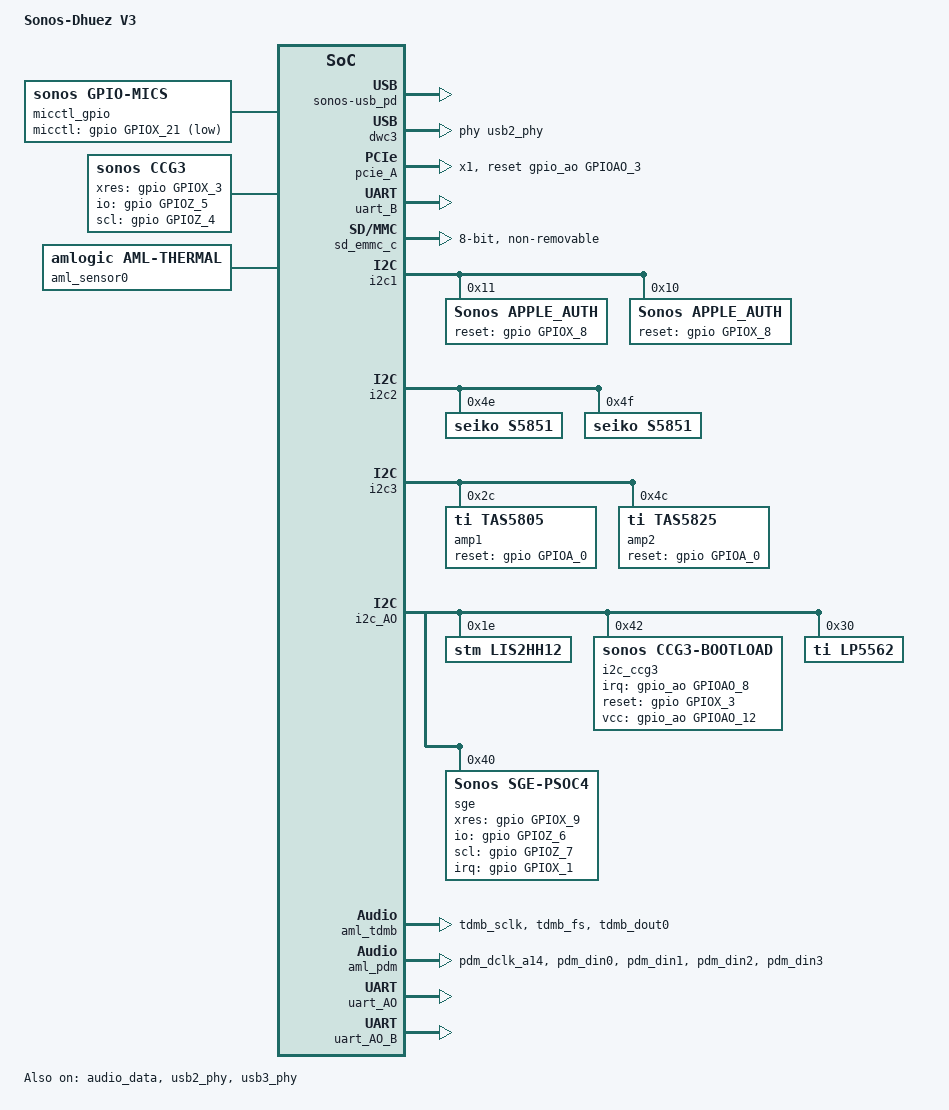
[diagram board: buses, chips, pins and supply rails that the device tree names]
/*
 * Copyright (c) 2018-2021, Sonos, Inc.
 *
 * SPDX-License-Identifier:     GPL-2.0
 */
/* Alpine HW versions
 *      V0 - dhuez_v0.dts    - Alpine p0 & p1a builds
 *      V1 - dhuez_v1.dts    - Alpine p1b
 *      V2 - dhuez_v2.dts    - Alpine p2a
 *      V3 - dhuez.dts       - Alpine p2b
 */
/dts-v1/;

#include "a113.dtsi"
#include "../sonos_platform.dtsi"

/ {
	model = "Sonos-Dhuez V3";
	amlogic-dt-id = "axg_a113d_skt_v1";
	compatible = "amlogic, axg";
	interrupt-parent = <&gic>;
	#address-cells = <2>;
	#size-cells = <2>;

	sonos-product-id = <0x0c>;

	sonos-platform {
		/* Sonos platform specific values for shared driver source & binaries */
		sonos-ampctl {
			/* Alpine has one amp fault.  It has three control lines.
			 */
			status = "okay";
			hw-inits-index = <1>;
			hw-exits-index = <1>;
			using-i2c-amp;
			ignore-startup-faults;
			allow-auto-recovery;

			sonos-ampfaults {
				num-faults = <0x01>;
				status = "okay";

				ampfault@0 {
					fault-gpio = <&gpio GPIOA_1 GPIO_ACTIVE_LOW>;
					fault-flags = <IRQ_TYPE_EDGE_FALLING>;
					fault-label = "Amp fault";
				} ;
			} ;
		} ;

		sonos-usb_pd {
			status = "okay";
			hw-inits-index = <1>;
			hw-exits-index = <1>;
		};

		misc-gpio {
			connect-button  = <&gpio_ao GPIOAO_6 GPIO_ACTIVE_LOW>;
			no-irq;
		};

		gpio-outs {
			/* The value 8 indicates an Open Drain GPIO to Amlogic driver */
			bt-classic-res = <&gpio GPIOZ_10 8>;
		};

		simulated-buttons {
		/* event-sources are offsets from EVTSOURCE_BUTTON_PLAYPAUSE, some generate an event for more than one source */
			join {
				event-sources = <3>;
				no-repeat-sim;
			};
			mode {
				event-sources = <4>;
				no-repeat-sim;
			};
			power {
				event-sources= <5>;
				no-repeat-sim;
			};
		};

		thermal-mgmt {
			AMP {
				compatible = "seiko,s5851";
				fault-temperature = <100>;
				warn-temperature = <95>;
			};
			CPU {
				compatible = "seiko,s5851";
				fault-temperature = <95>;
				warn-temperature = <91>;
			};
			POWER {
				compatible = "sonos,battery";
				fault-temperature = <58>;
				warn-temperature = <53>;
			};
		};
	} ;

	micctl_gpio:sonos-gpio-micctl {
		compatible = "sonos,gpio-mics";
		micctl-gpio = <&gpio GPIOX_21 GPIO_ACTIVE_LOW>;
	};

	micctl@1 {
		compatible = "sonos,micctl";
		micctl-device = <&micctl_gpio>;
	};

	rtc{
		status = "disabled";
	};

	sonos-rtc {
		compatible = "sonos,rtc";
		status = "okay";
	};

	sonos-lla {
		compatible = "sonos,alsa-lla";
		tx_mask = <0x3>;
		rx_mask = <0x3f>;
		status = "okay";
	};

	hrtimer-a113 {
		compatible = "sonos,hrtimer-a113";
		status = "okay";
	};

	ccg3 {
		compatible = "sonos,ccg3";
		xres-gpio = <&gpio GPIOX_3 GPIO_ACTIVE_HIGH>;
		io-gpio   = <&gpio GPIOZ_5 GPIO_ACTIVE_HIGH>;
		scl-gpio  = <&gpio GPIOZ_4 GPIO_ACTIVE_HIGH>;
	};

	aliases {
		serial0 = &uart_AO;
		serial1 = &uart_AO_B;
		serial2 = &uart_B;
		serial3 = &uart_A;
	};

	memory@00000000 {
		device_type = "memory";
		linux,usable-memory = <0x0 0x100000 0x0 0x3ff00000>;
	};

	reserved-memory {
		#address-cells = <2>;
		#size-cells = <2>;
		ranges;
		/* global autoconfigured region for contiguous allocations */
		ramoops@0x07400000 {
			compatible = "ramoops";
			reg = <0x0 0x07400000 0x0 0x00100000>;
			record-size = <0x8000>;
			console-size = <0x10000>;
			ftrace-size = <0x2000>;
			pmsg-size = <0x4000>;
		};
		secmon_reserved:linux,secmon {
			compatible = "shared-dma-pool";
			reusable;
			size = <0x0 0x400000>;
			alignment = <0x0 0x400000>;
			alloc-ranges = <0x0 0x05000000 0x0 0x400000>;
		};
		secos_reserved:linux,secos {
			status = "disable";
			compatible = "amlogic, aml_secos_memory";
			reg = <0x0 0x05300000 0x0 0x2000000>;
			no-map;
		};
	};

	ethmac: ethernet@0xff3f0000 {
			compatible = "amlogic, gxbb-eth-dwmac";
			status = "disable";
			reg = <0x0 0xff3f0000 0x0 0x10000
			0x0 0xff634540 0x0 0x8>;
			interrupts = <0 8 1>;
			pinctrl-names = "external_eth_pins";
			pinctrl-0 = <&external_eth_pins>;
			mc_val_internal_phy = <0x1800>;
			mc_val_external_phy = <0x1404>;
			interrupt-names = "macirq";
			clocks = <&clkc CLKID_ETH_CORE>;
			clock-names = "ethclk81";
			internal_phy=<0>;
	};

	aml_sensor0: aml-sensor@0 {
		compatible = "amlogic, aml-thermal";
		device_name = "thermal";
		#thermal-sensor-cells = <1>;
		cooling_devices {
			cpufreq_cool_cluster0 {
				min_state = <1000000>;
				dyn_coeff = <140>;
				cluster_id = <0>;
				node_name = "cpufreq_cool0";
				device_type = "cpufreq";
			};
			cpucore_cool_cluster0 {
				min_state = <1>;
				dyn_coeff = <0>;
				cluster_id = <0>;
				node_name = "cpucore_cool0";
				device_type = "cpucore";
			};
		};
		cpufreq_cool0:cpufreq_cool0 {
			#cooling-cells = <2>; /* min followed by max */
		};
		cpucore_cool0:cpucore_cool0 {
			#cooling-cells = <2>; /* min followed by max */
		};
	};

	remote:rc@0xff808040 {
		status = "disabled";
	};

	thermal-zones {
		soc_thermal {
			polling-delay = <1000>;
			polling-delay-passive = <100>;
			sustainable-power = <1050>;

			thermal-sensors = <&aml_sensor0 3>;

			trips {
				switch_on: trip-point@0 {
					temperature = <70000>;
					hysteresis = <1000>;
					type = "passive";
				};
				control: trip-point@1 {
					temperature = <80000>;
					hysteresis = <1000>;
					type = "passive";
				};
				hot: trip-point@2 {
					temperature = <105000>;
					hysteresis = <5000>;
					type = "hot";
				};
				critical: trip-point@3 {
					temperature = <260000>;
					hysteresis = <1000>;
					type = "critical";
				};
			};

			cooling-maps {
				cpufreq_cooling_map {
					trip = <&control>;
					cooling-device = <&cpufreq_cool0 0 4>;
					contribution = <1024>;
				};
				cpucore_cooling_map {
					trip = <&control>;
					cooling-device = <&cpucore_cool0 0 3>;
					contribution = <1024>;
				};
			};
		};
	};

	dwc3: dwc3@ff500000 {
		compatible = "synopsys, dwc3";
		status = "okay";
		reg = <0x0 0xff500000 0x0 0x100000>;
		interrupts = <0 30 4>;
		usb-phy = <&usb2_phy>, <&usb3_phy>;
		cpu-type = "gxl";
		clock-src = "usb3.0";
		clocks = <&clkc CLKID_USB_GENERAL>;
		clock-names = "dwc_general";
	};

	usb2_phy: usb2phy@ffe09000 {
		compatible = "amlogic, amlogic-new-usb2";
		status = "okay";
		portnum = <4>;
		reg = <0x0 0xffe09000 0x0 0x80>;
	};
	usb3_phy: usb3phy@ffe09080 {
		compatible = "amlogic, amlogic-new-usb3";
		status = "okay";
		portnum = <0>;
		reg = <0x0 0xffe09080 0x0 0x20>;
	};

	dwc2_a {
		compatible = "amlogic, dwc2";
		device_name = "dwc2_a";
		reg = <0x0 0xff400000 0x0 0x40000>;
		status = "disabled";
		interrupts = <0 31 4>;
		pl-periph-id = <0>; /** lm name */
		clock-src = "usb0"; /** clock src */
		port-id = <0>;  /** ref to mach/usb.h */
		port-type = <2>;        /** 0: otg, 1: host, 2: slave */
		port-speed = <0>; /** 0: default, high, 1: full */
		port-config = <0>; /** 0: default */
		/*0:default,1:single,2:incr,3:incr4,4:incr8,5:incr16,6:disable*/
		port-dma = <0>;
		port-id-mode = <0>; /** 0: hardware, 1: sw_host, 2: sw_slave*/
		usb-fifo = <728>;
		cpu-type = "gxl";
		/** 0: normal, 1: otg+dwc3 host only, 2: otg+dwc3 device only*/
		controller-type = <3>;
		phy-reg = <0xffe09000>;
		phy-reg-size = <0xa0>;
		clocks = <&clkc CLKID_USB_GENERAL
			&clkc CLKID_USB1_TO_DDR
			&clkc CLKID_USB1>;
		clock-names = "usb_general",
			"usb1",
			"usb1_to_ddr";
	};

	pcie_A: pcieA@f9800000 {
		compatible = "amlogic, amlogic-pcie", "snps,dw-pcie";
		reg = <0x0 0xf9800000 0x0 0x400000
				0x0 0xff646000 0x0 0x2000
				0x0 0xf9f00000 0x0 0x100000
				0x0 PCIE_PHY_REG 0x0 PCIE_PHY_SIZE
				0x0 PCIE_RESET_REG 0x0 PCIE_RESET_SIZE>;
		reg-names = "elbi", "cfg", "config", "phy", "reset";
		reset-gpio = <&gpio_ao GPIOAO_3 GPIO_ACTIVE_HIGH>;
		interrupts = <0 177 0>, <0 179 0>;
		#interrupt-cells = <1>;
		bus-range = <0x0 0xff>;
		#address-cells = <3>;
		#size-cells = <2>;
		device_type = "pci";
		ranges = <0x82000000 0 0 0x0 0xf9c00000 0 0x00300000>;
			/* non-prefetchable memory */
		num-lanes = <1>;
		pcie-num = <1>;
		speed-mod = <1>; /* gen1 */

		clocks = <&clkc CLKID_USB_GENERAL
				&clkc CLKID_PCIE_PLL
				&clkc CLKID_MIPI_ENABLE_GATE
				&clkc CLKID_MIPI_BANDGAP_GATE
				&clkc CLKID_PCIE_A
				&clkc CLKID_PCIE_CML_EN0>;
		clock-names = "pcie_general",
				"pcie_refpll",
				"pcie_mipi_enable_gate",
				"pcie_mipi_bandgap_gate",
				"pcie",
				"port";
		/*reset-gpio-type 0:Shared pad(no reset)1:OD pad2:Normal pad*/
		gpio-type = <2>;
		status = "okay";
	};

	pcie_B: pcieB@fa000000 {
		compatible = "amlogic, amlogic-pcie", "snps,dw-pcie";
		reg = <0x0 0xfa000000 0x0 0x400000
				0x0 0xff648000 0x0 0x2000
				0x0 0xfa400000 0x0 0x100000
				0x0 PCIE_PHY_REG 0x0 PCIE_PHY_SIZE
				0x0 PCIE_RESET_REG 0x0 PCIE_RESET_SIZE>;
		reg-names = "elbi", "cfg", "config", "phy", "reset";
		reset-gpio = <&gpio GPIOX_19 GPIO_ACTIVE_HIGH>;
		interrupts = <0 167 0>, <0 169 0>;
		#interrupt-cells = <1>;
		bus-range = <0x0 0xff>;
		#address-cells = <3>;
		#size-cells = <2>;
		device_type = "pci";
		ranges = <0x81000000 0 0 0 0xfa500000 0x0 0x10000
			/* downstream I/O */
			0x82000000 0 0xfa510000 0x0 0xfa510000 0 0x002f0000>;
			/* non-prefetchable memory */
		num-lanes = <1>;
		pcie-num = <2>;
		speed-mod = <1>; /* gen1 */

		clocks = <&clkc CLKID_USB_GENERAL
			&clkc CLKID_PCIE_PLL
			&clkc CLKID_MIPI_ENABLE_GATE
			&clkc CLKID_MIPI_BANDGAP_GATE
			&clkc CLKID_PCIE_B
			&clkc CLKID_PCIE_CML_EN1>;
		clock-names = "pcie_general",
			"pcie_refpll",
			"pcie_mipi_enable_gate",
			"pcie_mipi_bandgap_gate",
			"pcie",
			"port";
		/*reset-gpio-type 0:Shared pad(no reset)1:OD pad2:Normal pad*/
		gpio-type = <0>;
		status = "disable";
	};

	uart_A: serial@ffd24000 {
		compatible = "amlogic, meson-uart";
		reg = <0x0 0xffd24000 0x0 0x18>;
		interrupts = <0 26 1>;
		status = "disable";
		clocks = <&xtal
			&clkc CLKID_UART0>;
		clock-names = "clk_uart",
			"clk_gate";
		fifosize = < 128 >;
		pinctrl-names = "default";
		pinctrl-0 = <&a_uart_pins>;
	};

	uart_B: serial@ffd23000 {
		compatible = "amlogic, meson-uart";
		reg = <0x0 0xffd23000 0x0 0x18>;
		interrupts = <0 75 1>;
		status = "okay";
		clocks = <&clkc CLKID_CLK81
			&clkc CLKID_UART1>;
		clock-names = "clk_uart",
			"clk_gate";
		fifosize = < 64 >;
		pinctrl-names = "default";
		pinctrl-0 = <&b_uart_pins>;
	};
	/* Sound iomap */
	aml_snd_iomap {
		compatible = "amlogic, snd-iomap";
		status = "okay";
		#address-cells=<2>;
		#size-cells=<2>;
		ranges;
		pdm_bus {
			reg = <0x0 0xFF632000 0x0 0x2000>;
		};
		audiobus_base {
			reg = <0x0 0xFF642000 0x0 0x2000>;
		};
		audiolocker_base {
			reg = <0x0 0xFF64A000 0x0 0x2000>;
		};
	};
	pdm_codec:dummy{
		#sound-dai-cells = <0>;
		compatible = "amlogic, pdm_dummy_codec";
		status = "okay";
	};
	dummy_codec:dummy{
		#sound-dai-cells = <0>;
		compatible = "amlogic, aml_dummy_codec";
		status = "okay";
	};
	sonos_dummy_codec_dac: dac_dummy_codec {
		#sound-dai-cells = <0>;
		compatible = "Sonos,dummy-codec";
		stream-name = "0-dac";
		rate = <44100>; /* We use 44.1 KHz as the audio output rate */
		format = "S32_LE"; /* We use signed 24-bit little endian samples in a 32-bit word */
		channels = <2>; /* Number of playback channels on Dhuez is 2 */
		status = "okay";
	};
	sonos_dummy_codec_pdm: pdm_dummy_codec {
		#sound-dai-cells = <0>;
		compatible = "Sonos,dummy-codec";
		stream-name = "1-mic";
		rate = <48000>; /* Capture mic signal with >20 kHz bandwidth for ultrasonic processing */
		format = "S32_LE"; /* We use signed 24-bit little endian samples in 32-bit words */
		channels = <8>; /* Number of capture channels on Dhuez is 8 */
		capture; /* Set the stream direction to capture. Note: Deafult without this boolean flag is playback */
		status = "okay";
	};

	auge_sound {
		compatible = "amlogic, axg-sound-card";
		aml-audio-card,name = "AML-AUGESOUND";

		aml-audio-card,dai-link@1 {
			format = "i2s";
			mclk-fs = <256>;
			continuous-clock;
			frame-inversion;
			bitclock-master = <&aml_tdmb>;
			frame-master = <&aml_tdmb>;
			cpu {
				sound-dai = <&aml_tdmb>;
				dai-tdm-slot-tx-mask = <1 1>;
				dai-tdm-slot-num = <2>;
				dai-tdm-slot-width = <32>;
				system-clock-frequency = <12288000>;
			};
			codec {
				prefix-names = "Sonos i2s out";
				sound-dai = <&sonos_dummy_codec_dac>;
			};
		};

		aml-audio-card,dai-link@3 {
			mclk-fs = <256>;
			cpu {
				sound-dai = <&aml_pdm>;
			};
			codec {
				prefix-names = "Sonos PDM in";
				sound-dai = <&sonos_dummy_codec_pdm>;
			};
		};
	};

	sd_emmc_c: emmc@ffe07000 {
		status = "okay";
		compatible = "amlogic, meson-mmc-axg";
		reg = <0x0 0xffe07000 0x0 0x2000>;
		interrupts = <0 218 1>;
		pinctrl-names = "emmc_clk_cmd_pins", "emmc_all_pins";
		pinctrl-0 = <&emmc_clk_cmd_pins>;
		pinctrl-1 = <&emmc_conf_pull_up &emmc_conf_pull_done>;
		clocks = <&clkc CLKID_SD_EMMC_C>,
			   <&clkc CLKID_SD_EMMC_C_P0_COMP>,
			   <&clkc CLKID_FCLK_DIV2>,
			   <&clkc CLKID_FCLK_DIV5>,
			   <&xtal>;
		clock-names = "core", "clkin0", "clkin1", "clkin2", "xtal";

		bus-width = <8>;
		cap-sd-highspeed;
		cap-mmc-highspeed;
		mmc-ddr-1_8v;
		mmc-hs200-1_8v;

		max-frequency = <200000000>;
		non-removable;
		disable-wp;
		emmc {
			status = "disable";
			pinname = "emmc";
			ocr_avail = <0x200080>; /* VDD voltage 3.3 ~ 3.4 */
			caps = "MMC_CAP_8_BIT_DATA",
				 "MMC_CAP_MMC_HIGHSPEED",
				 "MMC_CAP_SD_HIGHSPEED",
				 "MMC_CAP_NONREMOVABLE",
				 "MMC_CAP_1_8V_DDR",
				 "MMC_CAP_HW_RESET",
				 "MMC_CAP_ERASE",
				 "MMC_CAP_CMD23";
			caps2 = "MMC_CAP2_HS200", "MMC_CAP2_HS400";
			f_min = <400000>;
			f_max = <200000000>;
			max_req_size = <0x20000>; /* 128KB*/
			gpio_dat3 = <&gpio BOOT_3 GPIO_ACTIVE_HIGH>;
			tx_delay = <0>;
			hw_reset = <&gpio BOOT_9 GPIO_ACTIVE_HIGH>;
			card_type = <1>;
			/* 1:mmc card(include eMMC),
			 * 2:sd card(include tSD)
			 */
		};
	};
}; /* end of / */

/* Auth chip is alone on this bus, because when it's reset, the bus doesn't work */
&i2c1 {
	status = "okay";
	pinctrl-names="default";
	pinctrl-0=<&b_i2c_master_pin1>;

	apple_auth@1 {
		compatible = "Sonos,apple_auth";
		reg = <0x11>;
		reset-gpio = <&gpio GPIOX_8 GPIO_ACTIVE_HIGH>;
	};
	apple_auth@0 {
		compatible = "Sonos,apple_auth";
		reg = <0x10>;
		reset-gpio = <&gpio GPIOX_8 GPIO_ACTIVE_HIGH>;
	};
};

&i2c2 {
	status = "okay";

	s5851@0 {       // CPU thermal sensor
		compatible = "seiko,s5851";
		reg = <0x4e>;
		device_type = "CPU";
	};

	s5851@1 {       // Amp thermal sensor
		compatible = "seiko,s5851";
		reg = <0x4f>;
		device_type = "AMP";
	};
};

&i2c3 {
	status = "okay";
	pinctrl-names="default";
	pinctrl-0=<&d_i2c_master_pin2>;

	amp1: tas5805@2c {	// tweeter
		compatible = "ti,tas5805";
		reg = <0x2c>;
		dev-id = <0x1>;
		play-to-sleep-delay = <10>;
		post-reset-delay = <10>;
		post-pause-delay = <6>;
		sleep-to-play-delay = <5>;
		stage-delay = <5>;
		shared-reset;
		reset-active-high;
		skip-fault-reset;
		mask-clock-faults;
		hwalpine-393-fix;
		reset-gpio = <&gpio GPIOA_0 GPIO_ACTIVE_HIGH>;
		first-amp-devid = <1>;
		number-init-stages = <3>;
		init-sequence-length1 = <2>;
		reg-init1 = <0x6A 0xB 0x02 0x02>;
		init-sequence-length2 = <4>;
		reg-init2 = < 0x03 0x00 0x03 0x02 0x03 0x00 0x03 0x02 >;
		init-sequence-length3 = <22>;
		reg-init3 = < 0x00 0x00 0x7f 0x00 0x60 0x01 0x61 0xb
		              0x00 0x00 0x7f 0x00 0x66 0x07 0x40 0x01 0x35 0x20 0x03 0x0a 0x28 0x58 0x33 0x03 0x34 0x00 0x4c 0x30 0x50 0x00 0x54 0x0a
			      0x75 0x38 0x29 0x00 0x00 0x00 0x7f 0x00 0x78 0x80 0x03 0x08 >;
		status = "okay";
	};
	amp2: tas5825@4c {	// woofer
		compatible = "ti,tas5825";
		reg = <0x4c>;
		dev-id = <0x2>;
		sleep-to-play-delay = <5>;
		play-to-sleep-delay = <200>;
		post-reset-delay = <10>;
		post-pause-delay = <6>;
		stage-delay = <5>;
		shared-reset;
		reset-active-high;
		skip-fault-reset;
		mask-clock-faults;
		hwalpine-410-fix;
		reset-gpio = <&gpio GPIOA_0 GPIO_ACTIVE_HIGH>;
		first-amp-devid = <1>;
		number-init-stages = <3>;
		init-sequence-length1 = <9>;
		reg-init1 = <0x00 0x00 0x7d 0x11 0x7e 0xff 0x00 0x02 0x7f 0x01 0x00 0x00 0x7d 0x0a 0x6A 0x03 0x02 0x06>;
		init-sequence-length2 = <4>;
		reg-init2 = < 0x03 0x00 0x03 0x02 0x03 0x00 0x03 0x02 >;
		init-sequence-length3 = <132>;
		reg-init3 = < 0x00 0x00 0x7f 0x00 0x60 0x01 0x61 0x0b
			0x00 0x00 0x7f 0x00 0x7d 0x11 0x7e 0xff 0x00 0x01 0x51 0x05 0x00 0x02 0x19 0xa0 0x1d 0x01 0x46 0x01 0x00 0x00 0x00 0x00 0x00 0x00
			0x00 0x00 0x7f 0x8c 0x00 0x06 0x38 0x00 0x39 0x00 0x3a 0x04 0x3b 0x00 0x00 0x0b 0x50 0x00 0x51 0x20
			0x52 0xc4 0x53 0x9c 0x5c 0x7f 0x5d 0xff 0x5e 0xff 0x5f 0xff 0x00 0x00 0x7f 0x8c 0x00 0x01 0x28 0x40
			0x29 0x00 0x2a 0x00 0x2b 0x00 0x00 0x0a 0x64 0x00 0x65 0x80 0x66 0x00 0x67 0x00 0x68 0x00 0x69 0x00
			0x6a 0x00 0x6b 0x00 0x6c 0x00 0x6d 0x00 0x6e 0x00 0x6f 0x00 0x70 0x00 0x71 0x80 0x72 0x00 0x73 0x00
			0x74 0x00 0x75 0x80 0x76 0x00 0x77 0x00 0x78 0x00 0x79 0x00 0x7a 0x00 0x7b 0x00 0x7c 0x00 0x7d 0x00
			0x7e 0x00 0x7f 0x00 0x00 0x0b 0x08 0x00 0x09 0x80 0x0a 0x00 0x0b 0x00 0x38 0x22 0x39 0x94 0x3a 0xDC
			0x3b 0xBB 0x3c 0x22 0x3d 0x94 0x3e 0xDC 0x3f 0xBB 0x48 0x05 0x49 0x91 0x4a 0x06 0x4b 0x12 0x4c 0x00
			0x4d 0x03 0x4e 0xB7 0x4f 0x17 0x54 0x7a 0x55 0x6E 0x56 0xF9 0x57 0xEE 0x58 0x00 0x59 0x00 0x5a 0x5F
			0x5b 0x1C 0x60 0x08 0x61 0x13 0x62 0x85 0x63 0x62 0x64 0x00 0x65 0x80 0x66 0x00 0x67 0x00 0x6c 0x00
			0x6d 0x78 0x6e 0xd6 0x6f 0xfd 0x70 0x00 0x71 0x08 0x72 0x13 0x73 0x85 0x00 0x00 0x7f 0x00 0x77 0x00
			0x53 0x01 0x3A 0xF8 0x03 0x0a 0x28 0x58 0x33 0x03 0x34 0x00 0x4c 0x30 0x50 0x00 0x54 0x0a 0x75 0x38
			0x29 0x00 0x00 0x00 0x7f 0x00 0x78 0x80 0x03 0x08 >;
			status = "okay";
	};
};

/* for mic board */
&i2c_AO {
	status = "okay";
	pinctrl-names="default";
	pinctrl-0=<&ao_i2c_master_pin2>;

        lis2hh12@0 { // accelerometer
                compatible = "stm,lis2hh12";
		motion-detection-mode;
		music-impacts-y-axis;
                reg = <0x1e>;
                status = "okay";
        };

	i2c_ccg3: ccg3@0 { // CCG3 I2C
		compatible = "sonos,ccg3-bootload";
		reg = <0x42>;
		status = "okay";
		irq-gpio  = <&gpio_ao GPIOAO_8 GPIO_ACTIVE_HIGH>;
		reset-gpio = <&gpio GPIOX_3 GPIO_ACTIVE_HIGH>;
		vcc-gpio = <&gpio_ao GPIOAO_12 GPIO_ACTIVE_HIGH>;
		fw-img-one = "ccg3_fw_img1.cyacd";
		fw-img-two = "ccg3_fw_img2.cyacd";
	};

	lp5562@0 {      // LED controller
		compatible = "ti,lp5562";
		reg = <0x30>;
	};

	sge@0 {  // Sigdetail Gesture Engine
		compatible = "Sonos,sge-psoc4";
		pinctrl-names = "mode-uart-hiz", "mode-flow-ctrl";
		pinctrl-0 = <>;
		pinctrl-1 = <&ao_b_uart_pins>;
		reg = <0x40>;
		gpio-addr = <0xff634400 0x130 0x58 0x0 0x5c 0x58 0x0 0x5c>;
		gpio-params = "base-addr", "len", "io-set", "io-clr", "io-din", "scl-set", "scl-clr", "scl-din";
		scl-bitmask =  <0x000080>;
		io-bitmask  =  <0x000040>;
		// Note: The values for IO and SCL are overridden by sdd-a113.c
		xres-gpio = <&gpio GPIOX_9 GPIO_ACTIVE_HIGH>;
		io-gpio   = <&gpio GPIOZ_6 GPIO_ACTIVE_HIGH>;
		scl-gpio  = <&gpio GPIOZ_7 GPIO_ACTIVE_HIGH>;
		irq-gpio  = <&gpio GPIOX_1 GPIO_ACTIVE_HIGH>;
		zonea = "vol2";
		zoneb = "pp";
		zonec = "vol1";
		zonem = "mic";
		active-high-psoc-reset;
		psoc-skip-init-reset;
		finger-threshold = <49>;
		noise-threshold = <22>;
		hysteresis = <2>;
		share-swd-uart = <1>;
		psoc-rtc = <1>;
		psoc-supports-low-power;
		status = "okay";

		psoc-images {
			image@0 {
				model-num = <4247>;
				ident = <0xa7>;
				flash-rows = <1024>;
				flash-row-size = <128>;
				flash-protection-size = <128>;
			};
		};
	};
};

&i2c_ccg3 {
	bq25700@0x9 {
                compatible = "ti,bq25700";
                reg = <0x9>;
                status = "okay";
	};
	bq40z50@0xb {
                compatible = "ti,bq40z50";
                reg = <0xb>;
		/* FIX ME: The following numbers need HW team verification */
                voltage-min-design-microvolt = <3200000>;
                energy-full-design-microwatt-hours = <5290000>;
		charge-full-design-microamp-hours = <1430000>;
	};
};

&audiobus {

	aml_tdmb: tdmb {
		compatible = "amlogic, axg-snd-tdmb";
		#sound-dai-cells = <0>;
		dai-tdm-lane-slot-mask-out = <1>;
		dai-tdm-clk-sel = <1>;
		clocks = <&clkaudio CLKID_AUDIO_MCLK_B
				&clkc CLKID_MPLL1>;
		clock-names = "mclk", "clk_srcpll";
		pinctrl-names = "tdm_pins";
		pinctrl-0 = <&tdmout_b>;
		status = "okay";
	};

	aml_pdm: pdm {
		compatible = "amlogic, axg-snd-pdm";
		#sound-dai-cells = <0>;
		clocks = <&clkaudio CLKID_AUDIO_PDM
			&clkc CLKID_FCLK_DIV3
			&clkc CLKID_MPLL3
			&clkaudio CLKID_AUDIO_PDMIN0
			&clkaudio CLKID_AUDIO_PDMIN1>;
		clock-names = "gate",
			"sysclk_srcpll",
			"dclk_srcpll",
			"pdm_dclk",
			"pdm_sysclk";
		pinctrl-names = "pdm_pins";
		pinctrl-0 = <&pdmin>;
		filter_mode = <1>; /* mode 0~4, defalut:1 */
		status = "okay";
	};
}; /* end of audiobus */

&pinctrl_periphs {
	tdmout_a: tdmout_a {
		mux {
			groups = "tdma_sclk",
				"tdma_fs";
			function = "tdma_out";
		};
	};

	tdmout_a_data: tdmout_a_data {
		mux {
			groups = "tdma_dout1_x15";
			function = "tdma_out";
		};
	};

	tdmin_a: tdmin_a {
		mux {
			groups = "tdma_din0";
			function = "tdma_in";
		};
	};

	tdmb_mclk: tdmb_mclk {
		mux {
			groups = "mclk_b";
			function = "mclk_b";
		};
	};

	tdmout_b: tdmout_b {
		mux {
			groups = "tdmb_sclk",
				"tdmb_fs",
				"tdmb_dout0";
			function = "tdmb_out";
		};
	};

	tdmin_b:tdmin_b {
		mux {
			groups = "tdmb_din0",
				"tdmb_din1",
				"tdmb_din2_a12",
				"tdmb_din3_a13";
			function = "tdmb_in";
		};
	};

	tdmc_mclk: tdmc_mclk {
		mux {
			groups = "mclk_a";
			function = "mclk";
		};
	};

	tdmout_c:tdmout_c {
		mux {
			groups = "tdmc_sclk",
				"tdmc_fs",
				"tdmc_dout0",
				"tdmc_dout2_a6",
				"tdmc_dout3_a7";
			function = "tdmc_out";
		};
	};


	tdmin_c:tdmin_c {
		mux {
			groups = "tdmc_din1";
			function = "tdmc_in";
		};
	};

	spdifout: spidfout {
		mux {
			groups = "spdif_out_a20";
			function = "spdif_out";
		};
	};

	spdifin: spidfin {
		mux {
			groups = "spdif_in_a19";
			function = "spdif_in";
		};
	};

	pdmin: pdmin {
		mux {
			groups = "pdm_dclk_a14",
				"pdm_din0",
				"pdm_din1",
				"pdm_din2",
				"pdm_din3";
			function = "pdm";
		};
	};
}; /* end of pinctrl_periphs */
/* Audio Related End */

&aobus{
	uart_AO: serial@3000 {
		compatible = "amlogic, meson-uart";
		reg = <0x0 0x3000 0x0 0x18>;
		interrupts = <0 193 1>;
		status = "okay";
		clocks = <&xtal>;
		clock-names = "clk_uart";
		xtal_tick_en = <1>;
		fifosize = < 64 >;
		pinctrl-names = "default";
		pinctrl-0 = <&ao_uart_pins>;
		support-sysrq = <1>;	/* 0 not support , 1 support */
	};

	uart_AO_B: serial@4000 {
		compatible = "amlogic, meson-uart";
		reg = <0x0 0x4000 0x0 0x18>;
		interrupts = <0 197 1>;
		status = "okay";
		clocks = <&xtal>;
		clock-names = "clk_uart";
		fifosize = < 64 >;
		pinctrl-names = "default";
		pinctrl-0 = <>;
	};
};

&audio_data{
	status = "okay";
};
